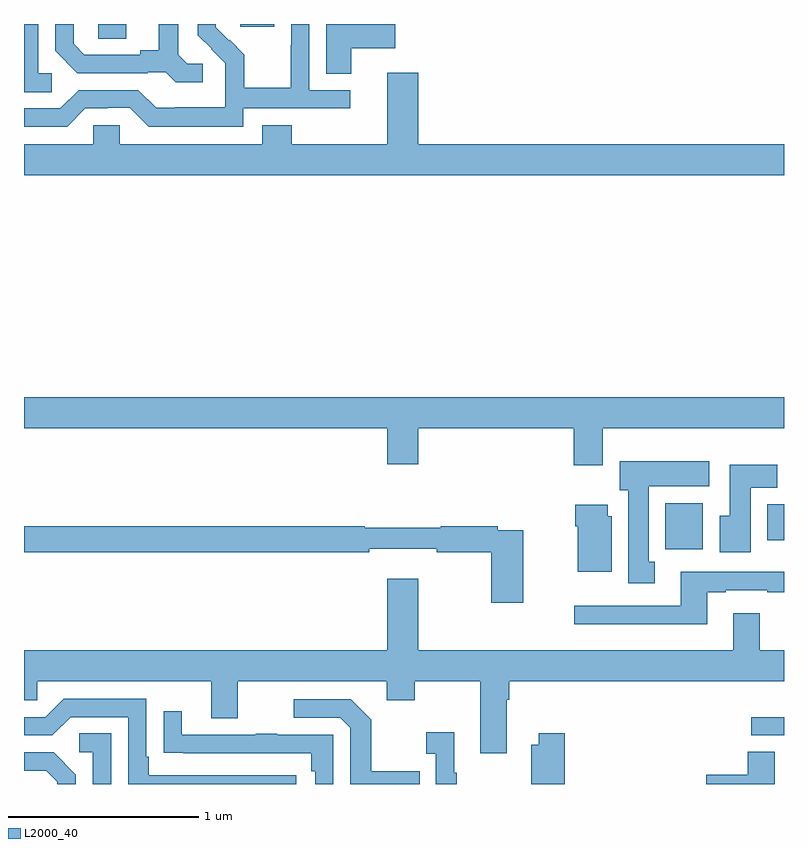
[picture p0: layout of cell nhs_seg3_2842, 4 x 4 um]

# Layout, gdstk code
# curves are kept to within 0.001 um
import gdstk
lib = gdstk.Library(unit=1e-6, precision=1e-09)
def R(c, l, rs):  # rectangles x0, y0, x1, y1
    for r in rs: c.add(gdstk.rectangle(r[:2], r[2:], *l))
def P(c, l, *ps):  # polygons
    for p in ps: c.add(gdstk.Polygon(p, *l))
L2000_40 = (2000, 40)

nhs_seg3_2842 = lib.new_cell('nhs_seg3_2842')
R(nhs_seg3_2842, L2000_40, [(262.827,676.656,263,676.752), (262.376,677.636,262.573,677.878), (262.913,677.684,263,677.872), (259.392,680.323,259.537,680.4), (260.138,680.385,260.317,680.4)])
P(nhs_seg3_2842, L2000_40, [(260.154,679.956),(260.716,679.956),(260.716,680.052),(260.502,680.052),(260.502,680.4),(260.406,680.4),(260.406,680.288),(260.404,680.288),(260.404,680.065),(260.159,680.065),(260.159,680.239),(260.082,680.316),(260.079,680.313),(260.009,680.384),(260.009,680.4),(259.914,680.4),(259.914,680.342),(260.06,680.194),(260.06,680.097),(260.058,680.097),(260.058,679.963),(259.795,679.963),(259.795,679.959),(259.695,679.959),(259.602,680.052),(259.287,680.052),(259.191,679.956),(259,679.956),(259,679.86),(259.227,679.86),(259.323,679.956),(259.442,679.956),(259.442,679.959),(259.557,679.959),(259.657,679.859),(260.154,679.859)],
  [(259.147,680.142),(259.074,680.142),(259.074,680.4),(259,680.4),(259,680.041),(259.147,680.041)],
  [(260.722,680.273),(260.953,680.273),(260.953,680.4),(260.591,680.4),(260.591,680.137),(260.722,680.137)],
  [(259.942,680.19),(259.86,680.19),(259.813,680.237),(259.813,680.4),(259.709,680.4),(259.709,680.261),(259.613,680.261),(259.613,680.238),(259.318,680.238),(259.261,680.295),(259.261,680.4),(259.164,680.4),(259.164,680.258),(259.28,680.142),(259.652,680.142),(259.652,680.145),(259.746,680.145),(259.798,680.093),(259.942,680.093)],
  [(263,679.768),(261.076,679.768),(261.076,680.143),(260.912,680.143),(260.912,679.768),(260.408,679.768),(260.408,679.867),(260.255,679.867),(260.255,679.768),(259.503,679.768),(259.503,679.866),(259.365,679.866),(259.365,679.768),(259,679.768),(259,679.604),(263,679.604)],
  [(262.045,678.272),(263,678.272),(263,678.436),(259,678.436),(259,678.272),(260.912,678.272),(260.912,678.084),(261.076,678.084),(261.076,678.272),(261.893,678.272),(261.893,678.078),(262.045,678.078)],
  [(262.321,677.57),(262.288,677.57),(262.288,677.966),(262.606,677.966),(262.606,678.1),(262.136,678.1),(262.136,677.946),(262.181,677.946),(262.181,677.457),(262.321,677.457)],
  [(262.825,677.96),(262.964,677.96),(262.964,678.079),(262.715,678.079),(262.715,677.812),(262.661,677.812),(262.661,677.619),(262.825,677.619)],
  [(262.093,677.808),(262.072,677.808),(262.072,677.869),(261.902,677.869),(261.902,677.756),(261.914,677.756),(261.914,677.516),(262.093,677.516)],
  [(261.628,677.736),(261.494,677.736),(261.494,677.756),(261.194,677.756),(261.194,677.749),(260.794,677.749),(260.794,677.756),(259,677.756),(259,677.62),(260.816,677.62),(260.816,677.639),(261.172,677.639),(261.172,677.62),(261.458,677.62),(261.458,677.355),(261.628,677.355)],
  [(262.597,677.409),(262.693,677.409),(262.693,677.421),(262.913,677.421),(262.913,677.409),(263,677.409),(263,677.518),(262.921,677.518),(262.921,677.517),(262.457,677.517),(262.457,677.337),(261.897,677.337),(261.897,677.24),(262.597,677.24)],
  [(261.541,676.844),(261.554,676.844),(261.554,676.94),(263,676.94),(263,677.104),(262.873,677.104),(262.873,677.299),(262.733,677.299),(262.733,677.104),(261.076,677.104),(261.076,677.479),(260.912,677.479),(260.912,677.104),(259,677.104),(259,676.842),(259.071,676.842),(259.071,676.94),(259.985,676.94),(259.985,676.746),(260.125,676.746),(260.125,676.94),(260.909,676.94),(260.909,676.841),(261.057,676.841),(261.057,676.94),(261.401,676.94),(261.401,676.563),(261.541,676.563)],
  [(260.434,676.446),(259.657,676.446),(259.657,676.543),(259.644,676.543),(259.644,676.848),(259.209,676.848),(259.113,676.752),(259,676.752),(259,676.656),(259.149,676.656),(259.245,676.752),(259.548,676.752),(259.548,676.4),(260.434,676.4)],
  [(261.083,676.467),(260.827,676.467),(260.827,676.739),(260.721,676.845),(260.421,676.845),(260.421,676.749),(260.664,676.749),(260.718,676.695),(260.718,676.4),(261.083,676.4)],
  [(260.628,676.659),(260.333,676.659),(260.333,676.664),(260.221,676.664),(260.221,676.659),(259.831,676.659),(259.831,676.783),(259.735,676.783),(259.735,676.564),(259.837,676.564),(259.837,676.563),(260.512,676.563),(260.512,676.466),(260.532,676.466),(260.532,676.4),(260.628,676.4)],
  [(261.277,676.459),(261.265,676.459),(261.265,676.672),(261.117,676.672),(261.117,676.559),(261.168,676.559),(261.168,676.4),(261.277,676.4)],
  [(259.458,676.667),(259.29,676.667),(259.29,676.566),(259.362,676.566),(259.362,676.4),(259.458,676.4)],
  [(261.845,676.666),(261.71,676.666),(261.71,676.606),(261.67,676.606),(261.67,676.4),(261.845,676.4)],
  [(262.951,676.571),(262.808,676.571),(262.808,676.448),(262.59,676.448),(262.59,676.4),(262.951,676.4)],
  [(259.272,676.45),(259.156,676.566),(259,676.566),(259,676.47),(259.118,676.47),(259.175,676.413),(259.175,676.4),(259.272,676.4)])

lib.write_gds('nhs_seg3_2842.gds')
